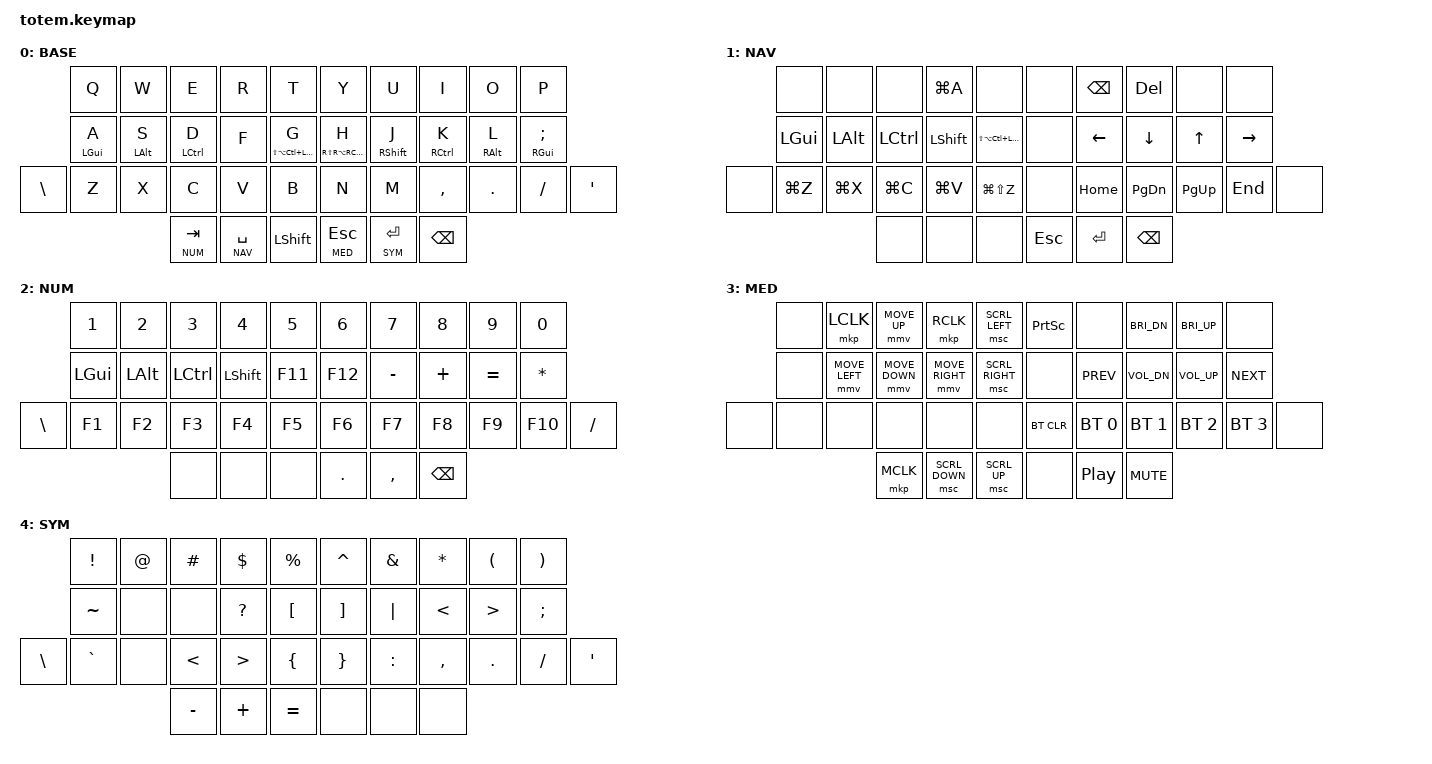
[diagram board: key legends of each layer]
//
//                                                        ▀▀▀▀▀     ▀▀▀▀▀          ▀▀█▀▀
//                                                        ▄▀▀▀▄  ▄  ▄▀▀▀▄  ▄  ▄▀▀▀▄  █  ▄▀▀▀▄
//                                                        █   █  █  █   █  █  █   █  █  █   █
//                                                         ▀▀▀   █   ▀▀▀   █   ▀▀▀   ▀   ▀▀▀
//                                                               █      ▄▄▄█▄▄▄    █   █
//                                                               ▀      █  █  █     █▄█
//                                                             ▀▀▀▀▀    █  █  █      ▀
//                                                                      ▀  ▀  ▀
//
// ▄▄▄▄▄▄▄▄▄▄▄▄▄▄▄▄▄▄▄▄▄▄▄▄▄▄▄▄▄▄▄▄▄▄▄▄▄▄▄▄▄▄▄▄▄▄▄▄▄▄▄▄▄▄▄▄▄▄▄▄▄▄▄▄▄▄▄▄▄▄▄▄▄▄▄▄▄▄▄▄▄▄▄▄▄
//
//  TOTEM — Hybrid layout
//
//  Old layer structure (NAV, NUM+F-keys, SYM, MEDIA)
//  + urob-style bilateral home row mods
//  + Python/code combos
//
//  5 layers: BASE, NAV, NUM, MED, SYM
//
// ▄▄▄▄▄▄▄▄▄▄▄▄▄▄▄▄▄▄▄▄▄▄▄▄▄▄▄▄▄▄▄▄▄▄▄▄▄▄▄▄▄▄▄▄▄▄▄▄▄▄▄▄▄▄▄▄▄▄▄▄▄▄▄▄▄▄▄▄▄▄▄▄▄▄▄▄▄▄▄▄▄▄▄▄▄

#include <behaviors.dtsi>
#include <dt-bindings/zmk/bt.h>
#include <dt-bindings/zmk/keys.h>
#include <dt-bindings/zmk/pointing.h>

#define BASE 0
#define NAV  1
#define NUM  2
#define MED  3
#define SYM  4

// ┌──────────────────────────────────────────────────────────┐
// │ Key position groups for bilateral home row mods          │
// │                                                          │
// │     0  1  2  3  4        5  6  7  8  9                   │
// │    10 11 12 13 14       15 16 17 18 19                   │
// │ 20 21 22 23 24 25       26 27 28 29 30 31                │
// │             32 33 34  35 36 37                            │
// └──────────────────────────────────────────────────────────┘

#define KEYS_L 0 1 2 3 4 10 11 12 13 14 20 21 22 23 24 25
#define KEYS_R 5 6 7 8 9 15 16 17 18 19 26 27 28 29 30 31
#define THUMBS 32 33 34 35 36 37

/ {
    // ┌──────────────────────────────────────────────────────────┐
    // │ Timeless bilateral home row mods (urob-style)            │
    // │                                                          │
    // │ - "balanced" flavor: resolves on keypress, not timeout   │
    // │ - require-prior-idle-ms: ignores hold if you were just   │
    // │   typing (prevents misfires on fast QWERTY rolls)        │
    // │ - hold-trigger-key-positions: mod only fires when the    │
    // │   OTHER hand presses a key (bilateral)                   │
    // │ - hold-trigger-on-release: allows layer-tap + HRM combo  │
    // └──────────────────────────────────────────────────────────┘

    behaviors {
        hml: home_row_mod_left {
            compatible = "zmk,behavior-hold-tap";
            #binding-cells = <2>;
            flavor = "balanced";
            tapping-term-ms = <280>;
            quick-tap-ms = <175>;
            require-prior-idle-ms = <150>;
            bindings = <&kp>, <&kp>;

            hold-trigger-key-positions = <KEYS_R THUMBS>;
            hold-trigger-on-release;
        };

        hmr: home_row_mod_right {
            compatible = "zmk,behavior-hold-tap";
            #binding-cells = <2>;
            flavor = "balanced";
            tapping-term-ms = <200>;
            quick-tap-ms = <175>;
            require-prior-idle-ms = <50>;
            bindings = <&kp>, <&kp>;

            hold-trigger-key-positions = <KEYS_L THUMBS>;
            hold-trigger-on-release;
        };
    };

    // ┌──────────────────────────────────────────────────────────┐
    // │ Combos                                                   │
    // └──────────────────────────────────────────────────────────┘

    combos {
        compatible = "zmk,combos";

        // Q + P → Capslock (переключение языка на macOS)

        caps {
            bindings = <&kp CAPSLOCK>;
            key-positions = <0 9>;
            timeout-ms = <50>;
            require-prior-idle-ms = <150>;
        };

        // V + M → _  (underscore)

        underscore {
            bindings = <&kp UNDERSCORE>;
            key-positions = <24 27>;
            timeout-ms = <50>;
            require-prior-idle-ms = <100>;
        };

        // Z + / → Caps Word

        capsword {
            bindings = <&caps_word>;
            key-positions = <21 30>;
            timeout-ms = <50>;
            require-prior-idle-ms = <150>;
        };

        // T + Y → =>  (fat arrow)

        fat_arrow {
            bindings = <&fat_arrow>;
            key-positions = <4 5>;
            timeout-ms = <30>;
            require-prior-idle-ms = <150>;
        };

        // B + N → ->  (thin arrow)

        thin_arrow {
            bindings = <&thin_arrow>;
            key-positions = <25 26>;
            timeout-ms = <30>;
            require-prior-idle-ms = <150>;
        };

        // R + U → -  (minus/dash)

        minus {
            bindings = <&kp MINUS>;
            key-positions = <3 6>;
            timeout-ms = <50>;
            require-prior-idle-ms = <150>;
        };

        // O + P → [ (= Х в русской раскладке)

        ru_ha {
            bindings = <&kp LBKT>;
            key-positions = <8 9>;
            timeout-ms = <50>;
            require-prior-idle-ms = <150>;
        };

        // P + ' → ] (= Ъ в русской раскладке)

        ru_hard_sign {
            bindings = <&kp RBKT>;
            key-positions = <9 31>;
            timeout-ms = <50>;
            require-prior-idle-ms = <150>;
        };

        // Tab + Space → Cmd+Tab (переключение приложений)

        app_switch {
            bindings = <&kp LG(TAB)>;
            key-positions = <32 33>;
            timeout-ms = <50>;
            require-prior-idle-ms = <150>;
        };

        // \ + Z → Cmd+` (переключение окон внутри приложения)

        win_switch {
            bindings = <&kp LG(GRAVE)>;
            key-positions = <20 21>;
            timeout-ms = <50>;
            require-prior-idle-ms = <150>;
        };

        // Q + W → Cmd+Shift+4 (скриншот области)

        screenshot {
            bindings = <&kp LG(LS(N4))>;
            key-positions = <0 1>;
            timeout-ms = <50>;
            require-prior-idle-ms = <150>;
        };

        // ── Python / LeetCode combos ──
        // E + R → ==

        double_equals {
            bindings = <&double_eq>;
            key-positions = <2 3>;
            timeout-ms = <30>;
            require-prior-idle-ms = <150>;
        };

        // W + E → !=

        not_equals {
            bindings = <&not_eq>;
            key-positions = <1 2>;
            timeout-ms = <30>;
            require-prior-idle-ms = <150>;
        };

        // L + ; → :

        colon {
            bindings = <&kp COLON>;
            key-positions = <18 19>;
            timeout-ms = <50>;
            require-prior-idle-ms = <100>;
        };

        // X + C → #  (Python comment + space)

        py_comment {
            bindings = <&hash_space>;
            key-positions = <22 23>;
            timeout-ms = <50>;
            require-prior-idle-ms = <150>;
        };
    };

    // ┌──────────────────────────────────────────────────────────┐
    // │ Macros                                                   │
    // └──────────────────────────────────────────────────────────┘

    macros {
        fat_arrow: fat_arrow {
            compatible = "zmk,behavior-macro";
            #binding-cells = <0>;
            bindings = <&kp EQUAL &kp GT>;
            label = "FAT_ARROW";
        };

        thin_arrow: thin_arrow {
            compatible = "zmk,behavior-macro";
            #binding-cells = <0>;
            bindings = <&kp MINUS &kp GT>;
            label = "THIN_ARROW";
        };

        double_eq: double_eq {
            compatible = "zmk,behavior-macro";
            #binding-cells = <0>;
            bindings = <&kp EQUAL &kp EQUAL>;
            label = "DOUBLE_EQ";
        };

        not_eq: not_eq {
            compatible = "zmk,behavior-macro";
            #binding-cells = <0>;
            bindings = <&kp EXCL &kp EQUAL>;
            label = "NOT_EQ";
        };

        hash_space: hash_space {
            compatible = "zmk,behavior-macro";
            #binding-cells = <0>;
            bindings = <&kp HASH &kp SPACE>;
            label = "HASH_SPACE";
        };
    };

    // ┌──────────────────────────────────────────────────────────┐
    // │ Keymap                                                   │
    // └──────────────────────────────────────────────────────────┘

    keymap {
        compatible = "zmk,keymap";

        // ┏━━━━━━━━━━━━━━━━━━━━━━━━━━━━━━━━━━━━━━━━━━━━━━━━━━━━━┓
        // ┃ BASE                                                  ┃
        // ┃                                                       ┃
        // ┃          Q      W      E      R      T                ┃
        // ┃         A/GUI  S/ALT  D/CTL   F     G/Hyper            ┃
        // ┃   \      Z      X      C      V      B                ┃
        // ┃                      TAB/NUM SPC/NAV SHIFT             ┃
        // ┃                                                       ┃
        // ┃          Y      U      I      O      P                ┃
        // ┃        H/Hyper J/SFT  K/CTL  L/ALT  ;/GUI             ┃
        // ┃          N      M      ,      .      /      '         ┃
        // ┃                     ESC/MED ENT/SYM  BSPC             ┃
        // ┗━━━━━━━━━━━━━━━━━━━━━━━━━━━━━━━━━━━━━━━━━━━━━━━━━━━━━┛

        base_layer {
            label = "BASE";
            bindings = <
          &kp Q        &kp W        &kp E         &kp R          &kp T                      &kp Y                    &kp U          &kp I         &kp O        &kp P
          &hml LGUI A  &hml LALT S  &hml LCTRL D  &kp F          &hml LS(LA(LC(LGUI))) G    &hmr RS(RA(RC(RGUI))) H  &hmr RSHFT J   &hmr RCTRL K  &hmr RALT L  &hmr RGUI SEMI
&kp BSLH  &kp Z        &kp X        &kp C         &kp V          &kp B                      &kp N                    &kp M          &kp COMMA     &kp DOT      &kp FSLH        &kp SQT
                                    &lt NUM TAB   &lt NAV SPACE  &kp LSHFT                  &lt MED ESC              &lt SYM ENTER  &kp BSPC
            >;
        };

        // ┏━━━━━━━━━━━━━━━━━━━━━━━━━━━━━━━━━━━━━━━━━━━━━━━━━━━━━┓
        // ┃ NAV — hold Space                                      ┃
        // ┃                                                       ┃
        // ┃ Left: select all (R), mods on home row                ┃
        // ┃ Left bottom: undo/cut/copy/paste/redo                 ┃
        // ┃ Right: BSP/DEL top, arrows JKL;, Home/End bottom     ┃
        // ┗━━━━━━━━━━━━━━━━━━━━━━━━━━━━━━━━━━━━━━━━━━━━━━━━━━━━━┛

        nav_layer {
            label = "NAV";
            bindings = <
       &none      &none      &none      &kp LG(A)  &none                   &none    &kp BSPC   &kp DEL    &none      &none
       &kp LGUI   &kp LALT   &kp LCTRL  &kp LSHFT  &kp LS(LA(LC(LGUI)))    &none    &kp LEFT   &kp DOWN   &kp UP     &kp RIGHT
&none  &kp LG(Z)  &kp LG(X)  &kp LG(C)  &kp LG(V)  &kp LG(LS(Z))           &none    &kp HOME   &kp PG_DN  &kp PG_UP  &kp END    &none
                             &none      &none      &none                   &kp ESC  &kp ENTER  &kp BSPC
            >;
        };

        // ┏━━━━━━━━━━━━━━━━━━━━━━━━━━━━━━━━━━━━━━━━━━━━━━━━━━━━━┓
        // ┃ NUM — hold Tab                                        ┃
        // ┃                                                       ┃
        // ┃ Top: 1-0 linear across both hands                     ┃
        // ┃ Home left: mods, Home right: F11/F12 + math ops       ┃
        // ┃ Bottom: F1-F10                                        ┃
        // ┃ Right thumbs: . , BSPC                                ┃
        // ┗━━━━━━━━━━━━━━━━━━━━━━━━━━━━━━━━━━━━━━━━━━━━━━━━━━━━━┛

        num_layer {
            label = "NUM";
            bindings = <
          &kp N1    &kp N2    &kp N3     &kp N4     &kp N5     &kp N6   &kp N7     &kp N8    &kp N9     &kp N0
          &kp LGUI  &kp LALT  &kp LCTRL  &kp LSHFT  &kp F11    &kp F12  &kp MINUS  &kp PLUS  &kp EQUAL  &kp ASTRK
&kp BSLH  &kp F1    &kp F2    &kp F3     &kp F4     &kp F5     &kp F6   &kp F7     &kp F8    &kp F9     &kp F10    &kp FSLH
                              &none      &none      &none      &kp DOT  &kp COMMA  &kp BSPC
            >;
        };

        // ┏━━━━━━━━━━━━━━━━━━━━━━━━━━━━━━━━━━━━━━━━━━━━━━━━━━━━━┓
        // ┃ MEDIA — hold Esc                                      ┃
        // ┃                                                       ┃
        // ┃ Left: mouse movement + clicks + scroll                ┃
        // ┃ Right: brightness, volume, prev/next, BT profiles     ┃
        // ┗━━━━━━━━━━━━━━━━━━━━━━━━━━━━━━━━━━━━━━━━━━━━━━━━━━━━━┛

        med_layer {
            label = "MED";
            bindings = <
       &none  &mkp LCLK       &mmv MOVE_UP    &mkp RCLK        &msc SCRL_LEFT     &kp PSCRN   &none         &kp C_BRI_DN  &kp C_BRI_UP  &none
       &none  &mmv MOVE_LEFT  &mmv MOVE_DOWN  &mmv MOVE_RIGHT  &msc SCRL_RIGHT    &none       &kp C_PREV    &kp C_VOL_DN  &kp C_VOL_UP  &kp C_NEXT
&none  &none  &none           &none           &none            &none              &bt BT_CLR  &bt BT_SEL 0  &bt BT_SEL 1  &bt BT_SEL 2  &bt BT_SEL 3  &none
                              &mkp MCLK       &msc SCRL_DOWN   &msc SCRL_UP       &none       &kp C_PP      &kp C_MUTE
            >;
        };

        // ┏━━━━━━━━━━━━━━━━━━━━━━━━━━━━━━━━━━━━━━━━━━━━━━━━━━━━━┓
        // ┃ SYM — hold Enter                                      ┃
        // ┃                                                       ┃
        // ┃ Top: ! @ # $ %   ^ & * ( )                            ┃
        // ┃ Home: ~     ? [ ] | < > ;                             ┃
        // ┃ Bot: \ `   < > { } : , . / '                          ┃
        // ┃ Left thumbs: - + =                                    ┃
        // ┗━━━━━━━━━━━━━━━━━━━━━━━━━━━━━━━━━━━━━━━━━━━━━━━━━━━━━┛

        sym_layer {
            label = "SYM";
            bindings = <
          &kp EXCL   &kp AT  &kp HASH   &kp DLLR   &kp PRCNT    &kp CARET  &kp AMPS   &kp ASTRK  &kp LPAR  &kp RPAR
          &kp TILDE  &none   &none      &kp QMARK  &kp LBKT     &kp RBKT   &kp PIPE   &kp LT     &kp GT    &kp SEMI
&kp BSLH  &kp GRAVE  &none   &kp LT     &kp GT     &kp LBRC     &kp RBRC   &kp COLON  &kp COMMA  &kp DOT   &kp FSLH  &kp SQT
                             &kp MINUS  &kp PLUS   &kp EQUAL    &none      &none      &none
            >;
        };
    };
};
